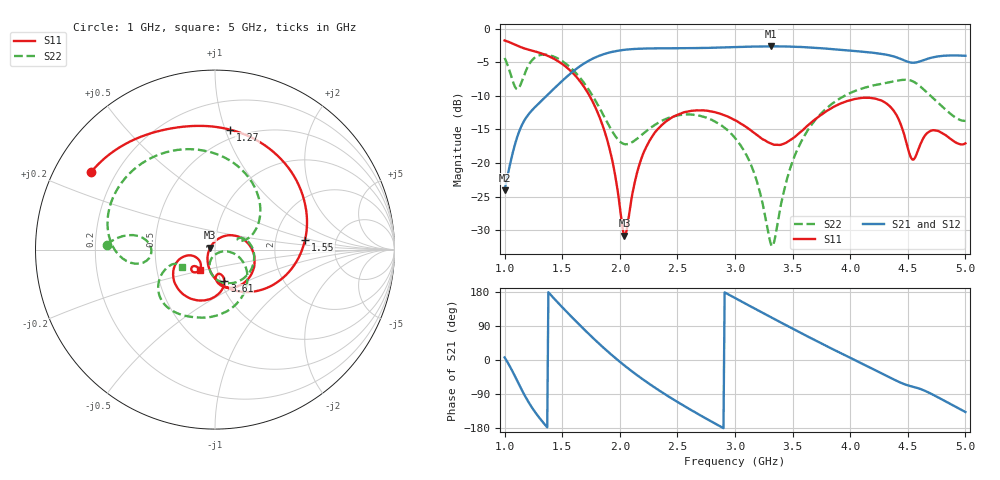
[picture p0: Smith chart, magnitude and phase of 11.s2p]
!Agilent Technologies,N5224A,MY51441093,A.09.90.21
!Agilent N5224A: A.09.90.21
!Date: Wednesday, October 01, 2025 16:38:44
!Correction: S11(Full 2 Port(1,2))
!S21(Full 2 Port(1,2))
!S12(Full 2 Port(1,2))
!S22(Full 2 Port(1,2))
!S2P File: Measurements: S11, S21, S12, S22:
# Hz S  dB  R 50
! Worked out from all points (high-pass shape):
!   401 points, 1 GHz to 5 GHz, reference 50 ohm
!   highest |S21| = -2.65 dB at 3.31 GHz (marker M1); lowest = -24.0 dB at 1 GHz (marker M2)
!   |S21| within 3 dB of the highest: 1.65 GHz to end of sweep
!   lowest |S11| = -30.8 dB at 2.04 GHz (marker M3), VSWR 1.06, Z = 47.4 + j1.01 ohm
!   |S11| at or under -10 dB: 1.738 GHz to end of sweep
!   |S22| runs from -32.3 to -3.9 dB; largest |S21 - S12| = 0.0039
!   S11 on the Smith chart (normalised r, x): 1 GHz: 0.11, +0.28; 1.27 GHz: 0.43, +1.04; 1.55 GHz: 2.97, +0.43; 3.61 GHz: 1.04, -0.38; 5 GHz: 0.82, -0.19
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1e9  -1.77 148.2  -24.01 6.8  -23.99 6.8  -4.37 177.4
1.11e9  -2.55 121.0  -16.08 -55.2  -16.08 -55.3  -9.02 -178.8
1.18e9  -3.00 104.8  -13.41 -96.6  -13.41 -96.7  -6.47 -171.1
1.27e9  -3.43 82.8  -11.57 -139.7  -11.56 -139.8  -4.23 167.2
1.42e9  -4.42 42.8  -9.08 165.3  -9.07 165.3  -4.13 124.6
1.55e9  -5.94 6.2  -7.01 123.6  -7.00 123.6  -5.48 89.1
1.67e9  -8.19 -28.3  -5.41 86.8  -5.40 86.8  -7.64 58.3
1.89e9  -16.51 -93.6  -3.66 23.9  -3.64 23.8  -13.91 19.4
2.04e9  -30.78 158.3  -3.16 -14.4  -3.15 -14.4  -17.18 22.5
2.18e9  -19.69 49.5  -2.99 -46.7  -2.99 -46.7  -15.94 24.2
2.34e9  -14.77 13.0  -2.94 -80.1  -2.94 -80.1  -13.95 7.5
2.7e9  -12.16 -44.4  -2.89 -146.2  -2.88 -146.1  -12.99 -47.9
3e9  -13.62 -78.4  -2.76 163.6  -2.73 163.6  -16.26 -92.1
3.17e9  -15.54 -88.0  -2.68 135.8  -2.66 135.8  -21.63 -111.0
3.31e9  -17.07 -85.5  -2.65 113.2  -2.63 113.2  -31.98 -75.6
3.61e9  -14.73 -73.5  -2.78 65.4  -2.76 65.3  -15.72 -22.3
3.67e9  -13.83 -75.8  -2.84 56.0  -2.82 56.0  -14.17 -29.5
4e9  -10.65 -104.8  -3.28 5.7  -3.26 5.6  -9.58 -71.2
4.34e9  -11.49 -151.0  -3.98 -45.5  -3.95 -45.8  -7.98 -110.5
4.54e9  -19.47 -148.2  -5.08 -70.2  -5.05 -70.4  -7.82 -138.3
4.71e9  -15.13 -134.8  -4.31 -90.3  -4.29 -90.5  -10.21 -157.3
5e9  -17.06 -127.5  -4.05 -137.2  -4.04 -137.4  -13.72 -152.1
